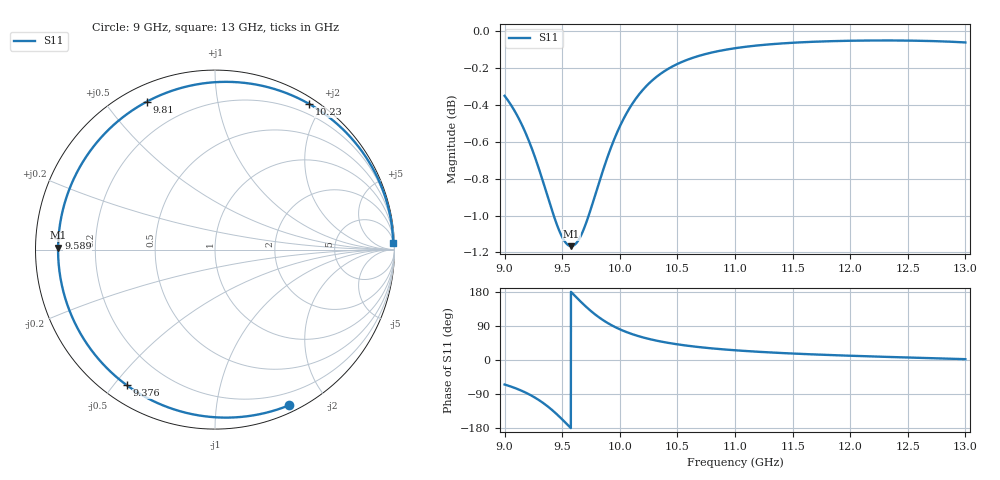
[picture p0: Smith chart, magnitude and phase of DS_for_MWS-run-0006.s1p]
! TOUCHSTONE file generated by CST DESIGN STUDIO
! Date and time: Tue Feb  4 18:31:34 2025
! Project name: C:\Work\MatlabApps\UnitCellOptimizationMatlab\CST\unitcell.cst
! Tree item: Tasks\Sweep1\SPara1\S-Parameters
! Header version: 2024
! Port assignment regex: !\s*Touchstone port\s*([0-9]+)\s*=\s*(CST MWS port|CST DES external port|CST DES block port)\s*(.+)\s* \(\"(.*)\"\)(\s*mode\s*([0-9]+))?.*
! Touchstone port assignment:
! Touchstone port 1 = CST DES external port 1 ("")
# GHz S MA R 50
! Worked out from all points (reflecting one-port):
!   4001 points, 9 GHz to 13 GHz, reference 50 ohm
!   lowest |S11| = -1.2 dB at 9.578 GHz (marker M1), VSWR 14.92, Z = 3.35 + j0.308 ohm
!   phase of S11 starts at -65 deg and turns -293 deg over the sweep
!   S11 on the Smith chart (normalised r, x): 9 GHz: 0.07, -1.58; 9.376 GHz: 0.07, -0.54; 9.589 GHz: 0.07, +0.04; 9.81 GHz: 0.07, +0.64; 10.23 GHz: 0.07, +1.83; 13 GHz: 9, +50
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9  0.9604 -64.7
9.044  0.9562 -69.0
9.111  0.9485 -76.5
9.226  0.9312 -92.8
9.305  0.9162 -107.2
9.376  0.9014 -122.9
9.437  0.8892 -138.6
9.5  0.8793 -156.7
9.54  0.8756 -168.9
9.578  0.8744 179.3
9.589  0.8745 175.9
9.644  0.878 158.9
9.706  0.8869 140.8
9.758  0.8968 127.0
9.81  0.9077 114.6
9.852  0.9163 105.7
9.896  0.9249 97.4
10  0.9422 81.0
10.11  0.9558 68.0
10.232  0.9664 57.1
10.356  0.9738 48.8
10.5  0.9797 41.3
10.721  0.9854 33.0
11  0.9894 25.7
11.5  0.9928 17.1
12  0.994 11.2
12.5  0.9941 6.6
13  0.993 2.2
